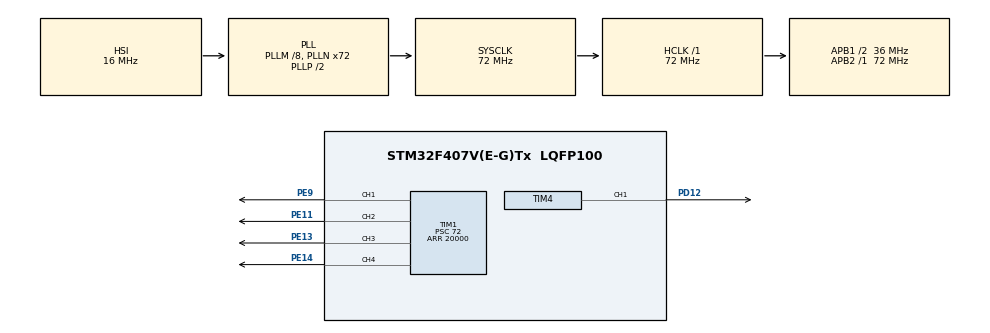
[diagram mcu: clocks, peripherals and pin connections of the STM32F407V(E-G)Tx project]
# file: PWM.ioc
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Mcu.Family=STM32F4
Mcu.Name=STM32F407V(E-G)Tx
Mcu.Package=LQFP100
NVIC.PriorityGroup=NVIC_PRIORITYGROUP_4
PC14-OSC32_IN.Mode=LSE-External-Oscillator
PC14-OSC32_IN.Signal=RCC_OSC32_IN
PC15-OSC32_OUT.Mode=LSE-External-Oscillator
PC15-OSC32_OUT.Signal=RCC_OSC32_OUT
PD12.Signal=S_TIM4_CH1
PE11.Signal=S_TIM1_CH2
PE13.Signal=S_TIM1_CH3
PE14.Signal=S_TIM1_CH4
PE9.Signal=S_TIM1_CH1
PH0-OSC_IN.Mode=HSE-External-Oscillator
PH0-OSC_IN.Signal=RCC_OSC_IN
PH1-OSC_OUT.Mode=HSE-External-Oscillator
PH1-OSC_OUT.Signal=RCC_OSC_OUT
ProjectManager.HeapSize=0x200
ProjectManager.StackSize=0x400
ProjectManager.TargetToolchain=MDK-ARM V5.32
RCC.48MHZClocksFreq_Value=36000000
RCC.AHBFreq_Value=72000000
RCC.APB1CLKDivider=RCC_HCLK_DIV2
RCC.APB1Freq_Value=36000000
RCC.APB1TimFreq_Value=72000000
RCC.APB2Freq_Value=72000000
RCC.APB2TimFreq_Value=72000000
RCC.CortexFreq_Value=72000000
RCC.HCLKFreq_Value=72000000
RCC.HSE_VALUE=25000000
RCC.HSI_VALUE=16000000
RCC.PLLM=8
RCC.PLLN=72
RCC.SYSCLKFreq_VALUE=72000000
RCC.SYSCLKSource=RCC_SYSCLKSOURCE_PLLCLK
RCC.VCOOutputFreq_Value=144000000
SH.S_TIM1_CH1.0=TIM1_CH1,PWM Generation1 CH1
SH.S_TIM1_CH2.0=TIM1_CH2,PWM Generation2 CH2
SH.S_TIM1_CH3.0=TIM1_CH3,PWM Generation3 CH3
SH.S_TIM1_CH4.0=TIM1_CH4,PWM Generation4 CH4
SH.S_TIM4_CH1.0=TIM4_CH1,PWM Generation1 CH1
TIM1.Channel-PWM\ Generation1\ CH1=TIM_CHANNEL_1
TIM1.Channel-PWM\ Generation2\ CH2=TIM_CHANNEL_2
TIM1.Channel-PWM\ Generation3\ CH3=TIM_CHANNEL_3
TIM1.Channel-PWM\ Generation4\ CH4=TIM_CHANNEL_4
TIM1.Period=20000
TIM1.Prescaler=72
TIM1.Pulse-PWM\ Generation2\ CH2=1000
TIM4.Channel-PWM\ Generation1\ CH1=TIM_CHANNEL_1
TIM4.Period=20000
TIM4.Prescaler=7200
TIM4.Pulse-PWM\ Generation1\ CH1=1000
VP_TIM1_VS_ClockSourceINT.Mode=Internal
VP_TIM4_VS_ClockSourceINT.Mode=Internal
board=custom

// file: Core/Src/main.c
/* USER CODE BEGIN Header */
/**
  ******************************************************************************
  * @file           : main.c
  * @brief          : Main program body
  ******************************************************************************
  * @attention
  *
  * Copyright (c) 2023 STMicroelectronics.
  * All rights reserved.
  *
  * This software is licensed under terms that can be found in the LICENSE file
  * in the root directory of this software component.
  * If no LICENSE file comes with this software, it is provided AS-IS.
  *
  ******************************************************************************
  */
/* USER CODE END Header */
#include "main.h"

TIM_HandleTypeDef htim1;
TIM_HandleTypeDef htim4;

void SystemClock_Config(void);
static void MX_GPIO_Init(void);
static void MX_TIM4_Init(void);
static void MX_TIM1_Init(void);

int main(void)
{

  /* MCU Configuration--------------------------------------------------------*/

  /* Reset of all peripherals, Initializes the Flash interface and the Systick. */
  HAL_Init();

  /* Configure the system clock */
  SystemClock_Config();

  /* Initialize all configured peripherals */
  MX_GPIO_Init();
  MX_TIM4_Init();
  MX_TIM1_Init();
  /* USER CODE BEGIN 2 */
//	HAL_TIM_Base_Start_IT(&htim4);
//	HAL_TIM_PWM_Start(&htim4,TIM_CHANNEL_1);
//	__HAL_TIM_SET_COMPARE(&htim4,TIM_CHANNEL_1, 20000*0.04);
	HAL_TIM_Base_Start_IT(&htim1);
		HAL_TIM_PWM_Start(&htim1,TIM_CHANNEL_1);
	__HAL_TIM_SET_COMPARE(&htim1,TIM_CHANNEL_1, 20000*0.04);
		HAL_TIM_PWM_Start(&htim1,TIM_CHANNEL_2);
	__HAL_TIM_SET_COMPARE(&htim1,TIM_CHANNEL_2, 20000*0.04);
		HAL_TIM_PWM_Start(&htim1,TIM_CHANNEL_3);
	__HAL_TIM_SET_COMPARE(&htim1,TIM_CHANNEL_3, 20000*0.04);
	HAL_TIM_PWM_Start(&htim1,TIM_CHANNEL_4);
	__HAL_TIM_SET_COMPARE(&htim1,TIM_CHANNEL_4, 20000*0.04);
  /* USER CODE END 2 */

  /* Infinite loop */
  while (1)
  {

    /* USER CODE BEGIN 3 */
		for(int i = 0; i < 5 ; i++)
		{
			HAL_Delay(2000);
	//		__HAL_TIM_SET_COMPARE(&htim4,TIM_CHANNEL_1, 20000*(5+i)/100);
			__HAL_TIM_SET_COMPARE(&htim1,TIM_CHANNEL_1, 20000*(5+i)/100);
			__HAL_TIM_SET_COMPARE(&htim1,TIM_CHANNEL_2, 20000*(5+i)/100);
			__HAL_TIM_SET_COMPARE(&htim1,TIM_CHANNEL_3, 20000*(5+i)/100);
			__HAL_TIM_SET_COMPARE(&htim1,TIM_CHANNEL_4, 20000*(5+i)/100);
		}
		HAL_Delay(5000);
//			__HAL_TIM_SET_COMPARE(&htim4,TIM_CHANNEL_1, 2000);
//		HAL_Delay(1000);
//		__HAL_TIM_SET_COMPARE(&htim4,TIM_CHANNEL_1, 3000);
  }
  /* USER CODE END 3 */
}

void SystemClock_Config(void)
{
  RCC_OscInitTypeDef RCC_OscInitStruct = {0};
  RCC_ClkInitTypeDef RCC_ClkInitStruct = {0};

  /** Configure the main internal regulator output voltage
  */
  __HAL_RCC_PWR_CLK_ENABLE();
  __HAL_PWR_VOLTAGESCALING_CONFIG(PWR_REGULATOR_VOLTAGE_SCALE1);

  /** Initializes the RCC Oscillators according to the specified parameters
  * in the RCC_OscInitTypeDef structure.
  */
  RCC_OscInitStruct.OscillatorType = RCC_OSCILLATORTYPE_HSI;
  RCC_OscInitStruct.HSIState = RCC_HSI_ON;
  RCC_OscInitStruct.HSICalibrationValue = RCC_HSICALIBRATION_DEFAULT;
  RCC_OscInitStruct.PLL.PLLState = RCC_PLL_ON;
  RCC_OscInitStruct.PLL.PLLSource = RCC_PLLSOURCE_HSI;
  RCC_OscInitStruct.PLL.PLLM = 8;
  RCC_OscInitStruct.PLL.PLLN = 72;
  RCC_OscInitStruct.PLL.PLLP = RCC_PLLP_DIV2;
  RCC_OscInitStruct.PLL.PLLQ = 4;
  if (HAL_RCC_OscConfig(&RCC_OscInitStruct) != HAL_OK)
  {
    Error_Handler();
  }

  /** Initializes the CPU, AHB and APB buses clocks
  */
  RCC_ClkInitStruct.ClockType = RCC_CLOCKTYPE_HCLK|RCC_CLOCKTYPE_SYSCLK
                              |RCC_CLOCKTYPE_PCLK1|RCC_CLOCKTYPE_PCLK2;
  RCC_ClkInitStruct.SYSCLKSource = RCC_SYSCLKSOURCE_PLLCLK;
  RCC_ClkInitStruct.AHBCLKDivider = RCC_SYSCLK_DIV1;
  RCC_ClkInitStruct.APB1CLKDivider = RCC_HCLK_DIV2;
  RCC_ClkInitStruct.APB2CLKDivider = RCC_HCLK_DIV1;

  if (HAL_RCC_ClockConfig(&RCC_ClkInitStruct, FLASH_LATENCY_2) != HAL_OK)
  {
    Error_Handler();
  }
}

static void MX_TIM1_Init(void)
{

  TIM_ClockConfigTypeDef sClockSourceConfig = {0};
  TIM_MasterConfigTypeDef sMasterConfig = {0};
  TIM_OC_InitTypeDef sConfigOC = {0};
  TIM_BreakDeadTimeConfigTypeDef sBreakDeadTimeConfig = {0};

  htim1.Instance = TIM1;
  htim1.Init.Prescaler = 72;
  htim1.Init.CounterMode = TIM_COUNTERMODE_UP;
  htim1.Init.Period = 20000;
  htim1.Init.ClockDivision = TIM_CLOCKDIVISION_DIV1;
  htim1.Init.RepetitionCounter = 0;
  htim1.Init.AutoReloadPreload = TIM_AUTORELOAD_PRELOAD_DISABLE;
  if (HAL_TIM_Base_Init(&htim1) != HAL_OK)
  {
    Error_Handler();
  }
  sClockSourceConfig.ClockSource = TIM_CLOCKSOURCE_INTERNAL;
  if (HAL_TIM_ConfigClockSource(&htim1, &sClockSourceConfig) != HAL_OK)
  {
    Error_Handler();
  }
  if (HAL_TIM_PWM_Init(&htim1) != HAL_OK)
  {
    Error_Handler();
  }
  sMasterConfig.MasterOutputTrigger = TIM_TRGO_RESET;
  sMasterConfig.MasterSlaveMode = TIM_MASTERSLAVEMODE_DISABLE;
  if (HAL_TIMEx_MasterConfigSynchronization(&htim1, &sMasterConfig) != HAL_OK)
  {
    Error_Handler();
  }
  sConfigOC.OCMode = TIM_OCMODE_PWM1;
  sConfigOC.Pulse = 0;
  sConfigOC.OCPolarity = TIM_OCPOLARITY_HIGH;
  sConfigOC.OCNPolarity = TIM_OCNPOLARITY_HIGH;
  sConfigOC.OCFastMode = TIM_OCFAST_DISABLE;
  sConfigOC.OCIdleState = TIM_OCIDLESTATE_RESET;
  sConfigOC.OCNIdleState = TIM_OCNIDLESTATE_RESET;
  if (HAL_TIM_PWM_ConfigChannel(&htim1, &sConfigOC, TIM_CHANNEL_1) != HAL_OK)
  {
    Error_Handler();
  }
  sConfigOC.Pulse = 1000;
  if (HAL_TIM_PWM_ConfigChannel(&htim1, &sConfigOC, TIM_CHANNEL_2) != HAL_OK)
  {
    Error_Handler();
  }
  sConfigOC.Pulse = 0;
  if (HAL_TIM_PWM_ConfigChannel(&htim1, &sConfigOC, TIM_CHANNEL_3) != HAL_OK)
  {
    Error_Handler();
  }
  if (HAL_TIM_PWM_ConfigChannel(&htim1, &sConfigOC, TIM_CHANNEL_4) != HAL_OK)
  {
    Error_Handler();
  }
  sBreakDeadTimeConfig.OffStateRunMode = TIM_OSSR_DISABLE;
  sBreakDeadTimeConfig.OffStateIDLEMode = TIM_OSSI_DISABLE;
  sBreakDeadTimeConfig.LockLevel = TIM_LOCKLEVEL_OFF;
  sBreakDeadTimeConfig.DeadTime = 0;
  sBreakDeadTimeConfig.BreakState = TIM_BREAK_DISABLE;
  sBreakDeadTimeConfig.BreakPolarity = TIM_BREAKPOLARITY_HIGH;
  sBreakDeadTimeConfig.AutomaticOutput = TIM_AUTOMATICOUTPUT_DISABLE;
  if (HAL_TIMEx_ConfigBreakDeadTime(&htim1, &sBreakDeadTimeConfig) != HAL_OK)
  {
    Error_Handler();
  }
  HAL_TIM_MspPostInit(&htim1);

}

static void MX_TIM4_Init(void)
{

  TIM_ClockConfigTypeDef sClockSourceConfig = {0};
  TIM_MasterConfigTypeDef sMasterConfig = {0};
  TIM_OC_InitTypeDef sConfigOC = {0};

  htim4.Instance = TIM4;
  htim4.Init.Prescaler = 7200;
  htim4.Init.CounterMode = TIM_COUNTERMODE_UP;
  htim4.Init.Period = 20000;
  htim4.Init.ClockDivision = TIM_CLOCKDIVISION_DIV1;
  htim4.Init.AutoReloadPreload = TIM_AUTORELOAD_PRELOAD_DISABLE;
  if (HAL_TIM_Base_Init(&htim4) != HAL_OK)
  {
    Error_Handler();
  }
  sClockSourceConfig.ClockSource = TIM_CLOCKSOURCE_INTERNAL;
  if (HAL_TIM_ConfigClockSource(&htim4, &sClockSourceConfig) != HAL_OK)
  {
    Error_Handler();
  }
  if (HAL_TIM_PWM_Init(&htim4) != HAL_OK)
  {
    Error_Handler();
  }
  sMasterConfig.MasterOutputTrigger = TIM_TRGO_RESET;
  sMasterConfig.MasterSlaveMode = TIM_MASTERSLAVEMODE_DISABLE;
  if (HAL_TIMEx_MasterConfigSynchronization(&htim4, &sMasterConfig) != HAL_OK)
  {
    Error_Handler();
  }
  sConfigOC.OCMode = TIM_OCMODE_PWM1;
  sConfigOC.Pulse = 1000;
  sConfigOC.OCPolarity = TIM_OCPOLARITY_HIGH;
  sConfigOC.OCFastMode = TIM_OCFAST_DISABLE;
  if (HAL_TIM_PWM_ConfigChannel(&htim4, &sConfigOC, TIM_CHANNEL_1) != HAL_OK)
  {
    Error_Handler();
  }
  HAL_TIM_MspPostInit(&htim4);

}

static void MX_GPIO_Init(void)
{

  /* GPIO Ports Clock Enable */
  __HAL_RCC_GPIOC_CLK_ENABLE();
  __HAL_RCC_GPIOH_CLK_ENABLE();
  __HAL_RCC_GPIOE_CLK_ENABLE();
  __HAL_RCC_GPIOD_CLK_ENABLE();

}

void Error_Handler(void)
{
  __disable_irq();
  while (1)
  {
  }
}
